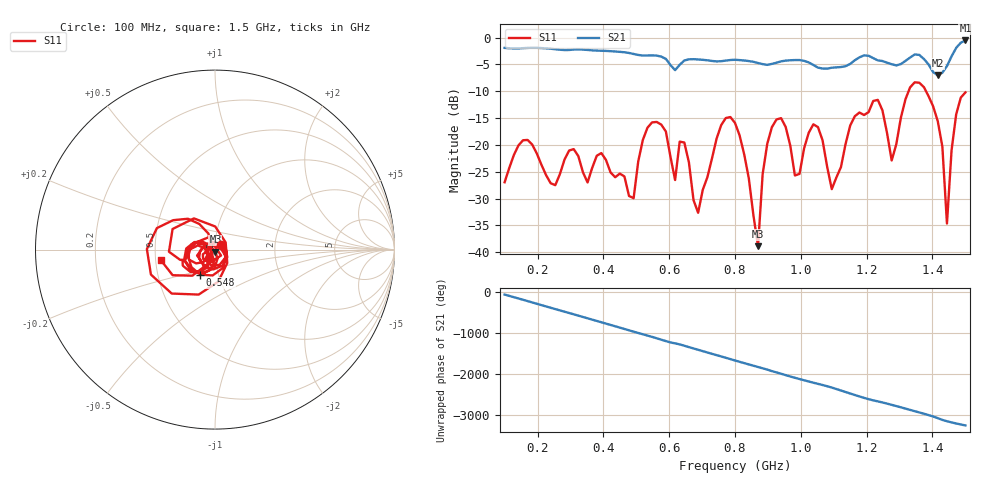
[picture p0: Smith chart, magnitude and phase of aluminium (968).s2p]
! NanoVNA-App
! Date: 2025-09-25 15:02:49
! Start: 100MHz Stop: 1,5GHz Points: 101
! S-Parameter data: F S11 S21 S12 S22
# Hz S RI R 50
!  Frequency  S11_Real  S11_Imag  S21_Real  S21_Imag  S12_Real  S12_Imag  S22_Real  S22_Imag
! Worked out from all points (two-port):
!   101 points, 100 MHz to 1.5 GHz, reference 50 ohm
!   highest |S21| = -0.54 dB at 1.5 GHz (marker M1); lowest = -7.0 dB at 1.416 GHz (marker M2)
!   |S21| within 3 dB of the highest: start of sweep to 575.3 MHz; 1.458 GHz to end of sweep (the widest 2 of 4)
!   lowest |S11| = -38.9 dB at 870 MHz (marker M3), VSWR 1.02, Z = 50.2 - j1.12 ohm
!   |S11| at or under -10 dB: start of sweep to 1.327 GHz; 1.38 GHz to end of sweep
!   S12 and S22 are empty: the file has one direction only
!   S11 on the Smith chart (normalised r, x): 100 MHz: 1.07, +0.06; 548 MHz: 0.82, -0.24; 1.5 GHz: 0.53, -0.07
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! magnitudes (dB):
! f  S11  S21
! 100 MHz  -27.0  -1.9
! 156 MHz  -19.1  -2.0
! 338 MHz  -25.1  -2.2
! 492 MHz  -29.9  -3.1
! 548 MHz  -15.8  -3.3
! 576 MHz  -16.2  -3.5
! 618 MHz  -26.5  -6.1
! 646 MHz  -19.6  -4.3
! 688 MHz  -32.6  -4.1
! 800 MHz  -15.9  -4.1
! 870 MHz  -38.9  -4.7
! 912 MHz  -16.7  -4.9
! 982 MHz  -25.7  -4.2
! 1.038 GHz  -16.2  -5.1
! 1.094 GHz  -28.2  -5.6
! 1.22 GHz  -11.8  -3.8
! 1.276 GHz  -22.9  -5.0
! 1.346 GHz  -8.3  -3.1
! 1.416 GHz  -15.6  -7.0
! 1.444 GHz  -34.6  -5.3
! 1.472 GHz  -14.3  -1.9
! 1.5 GHz  -10.2  -0.5
